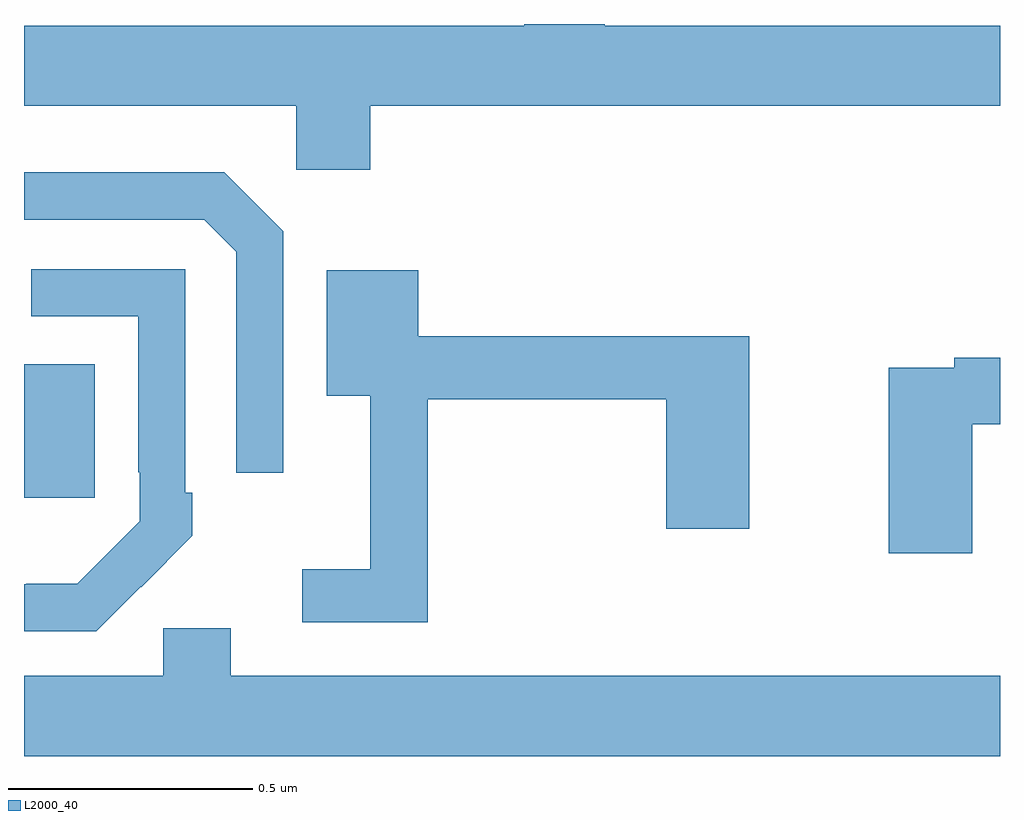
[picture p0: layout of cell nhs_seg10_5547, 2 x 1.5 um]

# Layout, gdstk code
import gdstk
lib = gdstk.Library(unit=1e-6, precision=1e-09)
def R(c, l, rs):  # rectangles x0, y0, x1, y1
    for r in rs: c.add(gdstk.rectangle(r[:2], r[2:], *l))
def P(c, l, *ps):  # polygons
    for p in ps: c.add(gdstk.Polygon(p, *l))
L2000_40 = (2000, 40)

nhs_seg10_5547 = lib.new_cell('nhs_seg10_5547')
R(nhs_seg10_5547, L2000_40, [(180,1283.529,180.145,1283.803)])
P(nhs_seg10_5547, L2000_40, [(180.71,1284.332),(182,1284.332),(182,1284.496),(181.19,1284.496),(181.19,1284.5),(181.025,1284.5),(181.025,1284.496),(180,1284.496),(180,1284.332),(180.558,1284.332),(180.558,1284.201),(180.71,1284.201)],
  [(180.531,1284.075),(180.41,1284.196),(180,1284.196),(180,1284.099),(180.369,1284.099),(180.435,1284.033),(180.435,1283.58),(180.531,1283.58)],
  [(180.239,1283.347),(180.24,1283.346),(180.345,1283.451),(180.345,1283.539),(180.33,1283.539),(180.33,1283.997),(180.015,1283.997),(180.015,1283.901),(180.234,1283.901),(180.234,1283.581),(180.237,1283.581),(180.237,1283.481),(180.109,1283.353),(180.005,1283.353),(180.005,1283.352),(180,1283.352),(180,1283.256),(180.148,1283.256)],
  [(180.827,1283.731),(181.316,1283.731),(181.316,1283.466),(181.486,1283.466),(181.486,1283.86),(180.808,1283.86),(180.808,1283.995),(180.62,1283.995),(180.62,1283.738),(180.71,1283.738),(180.71,1283.383),(180.57,1283.383),(180.57,1283.274),(180.827,1283.274)],
  [(181.943,1283.68),(182,1283.68),(182,1283.816),(181.906,1283.816),(181.906,1283.796),(181.772,1283.796),(181.772,1283.415),(181.943,1283.415)],
  [(182,1283.164),(180.424,1283.164),(180.424,1283.262),(180.285,1283.262),(180.285,1283.164),(180,1283.164),(180,1283),(182,1283)])

lib.write_gds('nhs_seg10_5547.gds')
